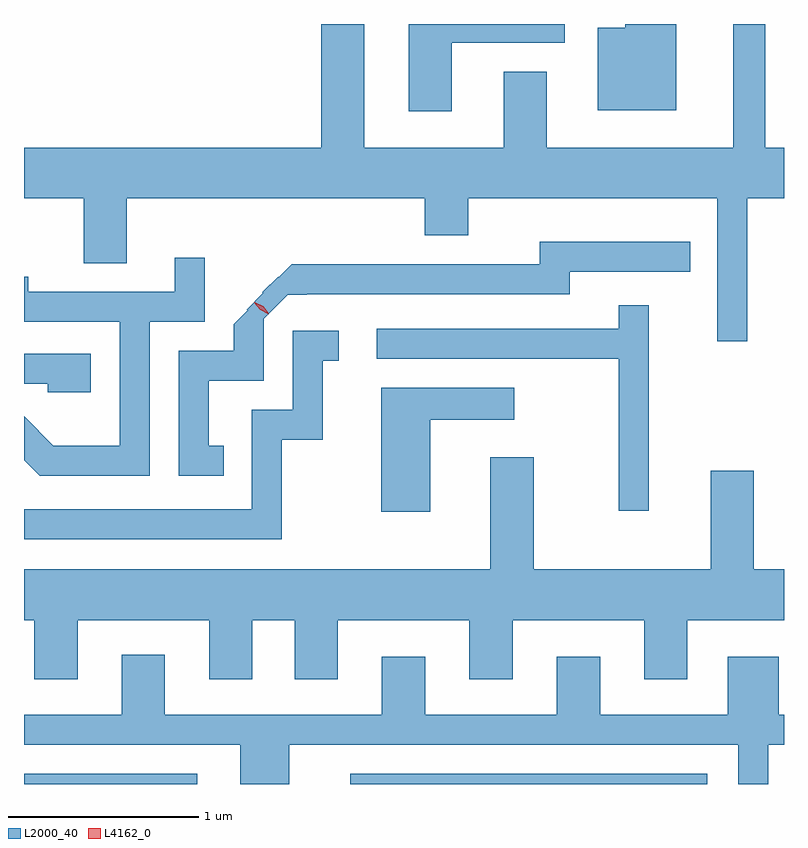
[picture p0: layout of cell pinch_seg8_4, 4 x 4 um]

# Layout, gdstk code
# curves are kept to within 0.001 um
import gdstk
lib = gdstk.Library(unit=1e-6, precision=1e-09)
def R(c, l, rs):  # rectangles x0, y0, x1, y1
    for r in rs: c.add(gdstk.rectangle(r[:2], r[2:], *l))
def P(c, l, *ps):  # polygons
    for p in ps: c.add(gdstk.Polygon(p, *l))
L2000_40 = (2000, 40)
L4162_0 = (4162, 0)

pinch_seg8_4 = lib.new_cell('pinch_seg8_4')
R(pinch_seg8_4, L2000_40, [(1116.187,1831.114,1117.098,1831.169), (1117.903,1831.114,1119.784,1831.169)])
P(pinch_seg8_4, L2000_40, [(1119.619,1835.114),(1119.351,1835.114),(1119.351,1835.094),(1119.206,1835.094),(1119.206,1834.661),(1119.619,1834.661)],
  [(1118.439,1835.016),(1119.034,1835.016),(1119.034,1835.114),(1118.211,1835.114),(1118.211,1834.656),(1118.439,1834.656)],
  [(1119.994,1834.196),(1120.187,1834.196),(1120.187,1834.464),(1120.089,1834.464),(1120.089,1835.114),(1119.921,1835.114),(1119.921,1834.464),(1118.939,1834.464),(1118.939,1834.864),(1118.711,1834.864),(1118.711,1834.464),(1117.979,1834.464),(1117.979,1835.114),(1117.751,1835.114),(1117.751,1834.464),(1116.187,1834.464),(1116.187,1834.196),(1116.501,1834.196),(1116.501,1833.856),(1116.729,1833.856),(1116.729,1834.196),(1118.296,1834.196),(1118.296,1834.001),(1118.524,1834.001),(1118.524,1834.196),(1119.836,1834.196),(1119.836,1833.443),(1119.994,1833.443)],
  [(1117.238,1832.894),(1117.159,1832.894),(1117.159,1833.236),(1117.449,1833.236),(1117.449,1833.563),(1117.576,1833.69),(1119.059,1833.691),(1119.059,1833.811),(1119.693,1833.811),(1119.693,1833.969),(1118.901,1833.969),(1118.901,1833.849),(1117.595,1833.849),(1117.528,1833.782),(1117.524,1833.785),(1117.44,1833.701),(1117.444,1833.696),(1117.36,1833.611),(1117.364,1833.607),(1117.291,1833.534),(1117.291,1833.394),(1117.001,1833.394),(1117.001,1832.736),(1117.238,1832.736)],
  [(1116.849,1833.546),(1117.139,1833.546),(1117.139,1833.883),(1116.981,1833.883),(1116.981,1833.704),(1116.209,1833.704),(1116.209,1833.783),(1116.187,1833.783),(1116.187,1833.546),(1116.691,1833.546),(1116.691,1832.894),(1116.342,1832.894),(1116.187,1833.049),(1116.187,1832.818),(1116.269,1832.736),(1116.849,1832.736)],
  [(1119.474,1833.633),(1119.316,1833.633),(1119.316,1833.509),(1118.043,1833.509),(1118.043,1833.351),(1119.316,1833.351),(1119.316,1832.553),(1119.474,1832.553)],
  [(1117.544,1832.926),(1117.759,1832.926),(1117.759,1833.341),(1117.843,1833.341),(1117.843,1833.499),(1117.601,1833.499),(1117.601,1833.084),(1117.386,1833.084),(1117.386,1832.559),(1116.187,1832.559),(1116.187,1832.401),(1117.544,1832.401)],
  [(1116.539,1833.379),(1116.187,1833.379),(1116.187,1833.221),(1116.311,1833.221),(1116.311,1833.176),(1116.539,1833.176)],
  [(1118.324,1833.031),(1118.768,1833.031),(1118.768,1833.199),(1118.066,1833.199),(1118.066,1832.546),(1118.324,1832.546)],
  [(1116.187,1831.976),(1116.241,1831.976),(1116.241,1831.666),(1116.469,1831.666),(1116.469,1831.976),(1117.161,1831.976),(1117.161,1831.666),(1117.389,1831.666),(1117.389,1831.976),(1117.611,1831.976),(1117.611,1831.666),(1117.839,1831.666),(1117.839,1831.976),(1118.531,1831.976),(1118.531,1831.666),(1118.759,1831.666),(1118.759,1831.976),(1119.451,1831.976),(1119.451,1831.666),(1119.679,1831.666),(1119.679,1831.976),(1120.187,1831.976),(1120.187,1832.244),(1120.029,1832.244),(1120.029,1832.764),(1119.801,1832.764),(1119.801,1832.244),(1118.869,1832.244),(1118.869,1832.834),(1118.641,1832.834),(1118.641,1832.244),(1116.187,1832.244)],
  [(1117.584,1831.321),(1119.946,1831.321),(1119.946,1831.114),(1120.104,1831.114),(1120.104,1831.321),(1120.187,1831.321),(1120.187,1831.479),(1120.159,1831.479),(1120.159,1831.784),(1119.891,1831.784),(1119.891,1831.479),(1119.219,1831.479),(1119.219,1831.784),(1118.991,1831.784),(1118.991,1831.479),(1118.299,1831.479),(1118.299,1831.784),(1118.071,1831.784),(1118.071,1831.479),(1116.929,1831.479),(1116.929,1831.794),(1116.701,1831.794),(1116.701,1831.479),(1116.187,1831.479),(1116.187,1831.321),(1117.326,1831.321),(1117.326,1831.114),(1117.584,1831.114)])
P(pinch_seg8_4, L4162_0, [(1117.474,1833.586),(1117.431,1833.61),(1117.4,1833.648),(1117.4,1833.649),(1117.401,1833.649),(1117.444,1833.625),(1117.475,1833.587),(1117.475,1833.586)],
  [(1117.472,1833.592),(1117.434,1833.612),(1117.407,1833.647),(1117.407,1833.648),(1117.408,1833.648),(1117.446,1833.628),(1117.473,1833.593),(1117.473,1833.592)])

lib.write_gds('pinch_seg8_4.gds')
